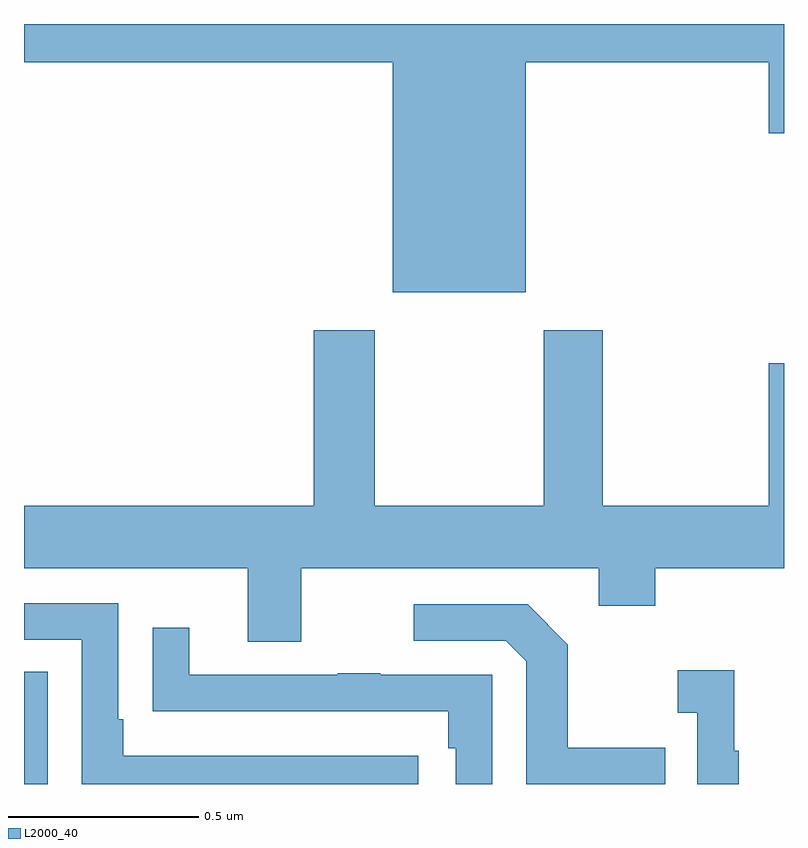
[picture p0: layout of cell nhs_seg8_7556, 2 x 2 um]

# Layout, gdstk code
import gdstk
lib = gdstk.Library(unit=1e-6, precision=1e-09)
def R(c, l, rs):  # rectangles x0, y0, x1, y1
    for r in rs: c.add(gdstk.rectangle(r[:2], r[2:], *l))
def P(c, l, *ps):  # polygons
    for p in ps: c.add(gdstk.Polygon(p, *l))
L2000_40 = (2000, 40)

nhs_seg8_7556 = lib.new_cell('nhs_seg8_7556')
R(nhs_seg8_7556, L2000_40, [(211,1147.9,211.062,1148.195)])
P(nhs_seg8_7556, L2000_40, [(212.32,1149.8),(212.96,1149.8),(212.96,1149.612),(213,1149.612),(213,1149.9),(211,1149.9),(211,1149.8),(211.97,1149.8),(211.97,1149.194),(212.32,1149.194)],
  [(211.729,1148.468),(212.513,1148.468),(212.513,1148.369),(212.661,1148.369),(212.661,1148.468),(213,1148.468),(213,1149.007),(212.96,1149.007),(212.96,1148.632),(212.523,1148.632),(212.523,1149.094),(212.368,1149.094),(212.368,1148.632),(211.923,1148.632),(211.923,1149.094),(211.763,1149.094),(211.763,1148.632),(211,1148.632),(211,1148.468),(211.589,1148.468),(211.589,1148.274),(211.729,1148.274)],
  [(212.038,1147.974),(211.261,1147.974),(211.261,1148.071),(211.248,1148.071),(211.248,1148.376),(211,1148.376),(211,1148.28),(211.152,1148.28),(211.152,1147.9),(212.038,1147.9)],
  [(212.687,1147.995),(212.431,1147.995),(212.431,1148.267),(212.325,1148.373),(212.025,1148.373),(212.025,1148.277),(212.268,1148.277),(212.322,1148.223),(212.322,1147.9),(212.687,1147.9)],
  [(212.232,1148.187),(211.937,1148.187),(211.937,1148.192),(211.825,1148.192),(211.825,1148.187),(211.435,1148.187),(211.435,1148.311),(211.339,1148.311),(211.339,1148.092),(211.441,1148.092),(211.441,1148.091),(212.116,1148.091),(212.116,1147.994),(212.136,1147.994),(212.136,1147.9),(212.232,1147.9)],
  [(212.881,1147.987),(212.869,1147.987),(212.869,1148.2),(212.721,1148.2),(212.721,1148.087),(212.772,1148.087),(212.772,1147.9),(212.881,1147.9)])

lib.write_gds('nhs_seg8_7556.gds')
